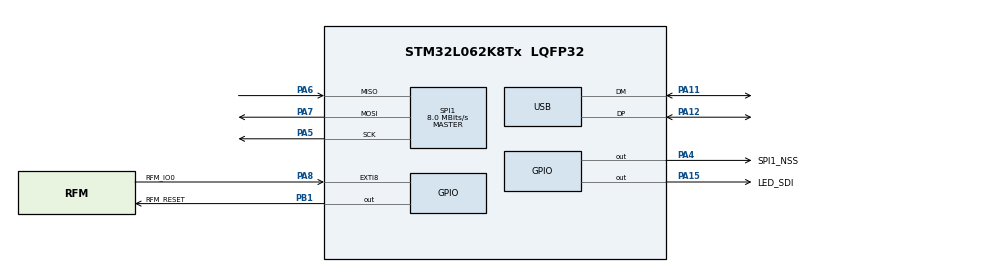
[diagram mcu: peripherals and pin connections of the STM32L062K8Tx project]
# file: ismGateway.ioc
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Mcu.Family=STM32L0
Mcu.Name=STM32L062K8Tx
Mcu.Package=LQFP32
NVIC.EXTI4_15_IRQn=true\:0\:0\:false\:false\:true\:true
NVIC.TIM2_IRQn=true\:2\:0\:true\:false\:true\:true
NVIC.USB_IRQn=true\:0\:0\:false\:false\:true\:false
PA11.Mode=Device
PA11.Signal=USB_DM
PA12.Mode=Device
PA12.Signal=USB_DP
PA13.Mode=Serial_Wire
PA13.Signal=SYS_SWDIO
PA14.Mode=Serial_Wire
PA14.Signal=SYS_SWCLK
PA15.GPIO_Label=LED_SDI
PA15.Signal=GPIO_Output
PA4.GPIO_Label=SPI1_NSS
PA4.GPIO_Speed=GPIO_SPEED_FREQ_HIGH
PA4.PinState=GPIO_PIN_SET
PA4.Signal=GPIO_Output
PA5.Mode=Full_Duplex_Master
PA5.Signal=SPI1_SCK
PA6.Mode=Full_Duplex_Master
PA6.Signal=SPI1_MISO
PA7.Mode=Full_Duplex_Master
PA7.Signal=SPI1_MOSI
PA8.GPIO_Label=RFM_IO0
PA8.GPIO_ModeDefaultEXTI=GPIO_MODE_IT_RISING_FALLING
PA8.GPIO_PuPd=GPIO_PULLDOWN
PA8.Signal=GPXTI8
PB1.GPIO_Label=RFM_RESET
PB1.GPIO_Speed=GPIO_SPEED_FREQ_HIGH
PB1.PinState=GPIO_PIN_SET
PB1.Signal=GPIO_Output
ProjectManager.HeapSize=0x200
ProjectManager.StackSize=0x400
ProjectManager.TargetToolchain=Makefile
RCC.AHBFreq_Value=32000000
RCC.APB1Freq_Value=32000000
RCC.APB1TimFreq_Value=32000000
RCC.APB2Freq_Value=32000000
RCC.APB2TimFreq_Value=32000000
RCC.HCLKFreq_Value=32000000
RCC.HSI16_VALUE=16000000
RCC.HSI48MClockSelection=RCC_USBCLKSOURCE_HSI48
RCC.HSI48_VALUE=48000000
RCC.HSI_VALUE=16000000
RCC.LSE_VALUE=32768
RCC.MSI_VALUE=2097000
RCC.PLLMUL=RCC_PLLMUL_4
RCC.SYSCLKFreq_VALUE=32000000
RCC.SYSCLKSource=RCC_SYSCLKSOURCE_PLLCLK
RCC.VCOOutputFreq_Value=64000000
SPI1.BaudRatePrescaler=SPI_BAUDRATEPRESCALER_4
SPI1.CalculateBaudRate=8.0 MBits/s
SPI1.Direction=SPI_DIRECTION_2LINES
SPI1.Mode=SPI_MODE_MASTER
SPI1.VirtualType=VM_MASTER
TIM2.Period=500
TIM2.TIM_MasterOutputTrigger=TIM_TRGO_UPDATE
USB_DEVICE.CLASS_NAME_FS=CDC
USB_DEVICE.VirtualMode=Cdc
USB_DEVICE.VirtualModeFS=Cdc_FS
VP_AES_VS_AES.Mode=AES_Activate
VP_TIM2_VS_ClockSourceINT.Mode=Internal
VP_USB_DEVICE_VS_USB_DEVICE_CDC_FS.Mode=CDC_FS
board=ismGateway

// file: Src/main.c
/**
  ******************************************************************************
  * @file           : main.c
  * @brief          : Main program body
  ******************************************************************************
  * This notice applies to any and all portions of this file
  * that are not between comment pairs USER CODE BEGIN and
  * USER CODE END. Other portions of this file, whether
  * inserted by the user or by software development tools
  * are owned by their respective copyright owners.
  *
  * Copyright (c) 2018 STMicroelectronics International N.V.
  * All rights reserved.
  *
  * Redistribution and use in source and binary forms, with or without
  * modification, are permitted, provided that the following conditions are met:
  *
  * 1. Redistribution of source code must retain the above copyright notice,
  *    this list of conditions and the following disclaimer.
  * 2. Redistributions in binary form must reproduce the above copyright notice,
  *    this list of conditions and the following disclaimer in the documentation
  *    and/or other materials provided with the distribution.
  * 3. Neither the name of STMicroelectronics nor the names of other
  *    contributors to this software may be used to endorse or promote products
  *    derived from this software without specific written permission.
  * 4. This software, including modifications and/or derivative works of this
  *    software, must execute solely and exclusively on microcontroller or
  *    microprocessor devices manufactured by or for STMicroelectronics.
  * 5. Redistribution and use of this software other than as permitted under
  *    this license is void and will automatically terminate your rights under
  *    this license.
  *
  * THIS SOFTWARE IS PROVIDED BY STMICROELECTRONICS AND CONTRIBUTORS "AS IS"
  * AND ANY EXPRESS, IMPLIED OR STATUTORY WARRANTIES, INCLUDING, BUT NOT
  * LIMITED TO, THE IMPLIED WARRANTIES OF MERCHANTABILITY, FITNESS FOR A
  * PARTICULAR PURPOSE AND NON-INFRINGEMENT OF THIRD PARTY INTELLECTUAL PROPERTY
  * RIGHTS ARE DISCLAIMED TO THE FULLEST EXTENT PERMITTED BY LAW. IN NO EVENT
  * SHALL STMICROELECTRONICS OR CONTRIBUTORS BE LIABLE FOR ANY DIRECT, INDIRECT,
  * INCIDENTAL, SPECIAL, EXEMPLARY, OR CONSEQUENTIAL DAMAGES (INCLUDING, BUT NOT
  * LIMITED TO, PROCUREMENT OF SUBSTITUTE GOODS OR SERVICES; LOSS OF USE, DATA,
  * OR PROFITS; OR BUSINESS INTERRUPTION) HOWEVER CAUSED AND ON ANY THEORY OF
  * LIABILITY, WHETHER IN CONTRACT, STRICT LIABILITY, OR TORT (INCLUDING
  * NEGLIGENCE OR OTHERWISE) ARISING IN ANY WAY OUT OF THE USE OF THIS SOFTWARE,
  * EVEN IF ADVISED OF THE POSSIBILITY OF SUCH DAMAGE.
  *
  ******************************************************************************
  */
#include "main.h"
#include "stm32l0xx_hal.h"
#include "aes.h"
#include "spi.h"
#include "tim.h"
#include "usb_device.h"
#include "gpio.h"

/* USER CODE BEGIN Includes */
#include "usbd_cdc_if.h"
#include "rfm9x_glue.h"
/* USER CODE END Includes */

/* USER CODE BEGIN PV */
/* Private variables ---------------------------------------------------------*/
typedef enum {
  TIMER_PENDING,
  TIMER_DONE
} timer_status_t;
volatile timer_status_t timer_status = TIMER_DONE;
volatile color_t colorSystem = {0x00, 0x03, 0x00};
volatile color_t colorTransmit = {0x00, 0x03, 0x00};
const color_t COLOR_RED = {0x03, 0x00, 0x00};
const color_t COLOR_GREEN = {0x00, 0x03, 0x00};
const color_t COLOR_BLUE = {0x00, 0x00, 0x03};
const color_t COLOR_YELLOW = {0x03, 0x03, 0x00};
/* USER CODE END PV */

void SystemClock_Config(void);

/* USER CODE BEGIN PFP */
/* Private function prototypes -----------------------------------------------*/

/* USER CODE END PFP */

int main(void)
{

  /* MCU Configuration----------------------------------------------------------*/

  /* Reset of all peripherals, Initializes the Flash interface and the Systick. */
  HAL_Init();

  /* Configure the system clock */
  SystemClock_Config();

  /* Initialize all configured peripherals */
  MX_GPIO_Init();
  MX_SPI1_Init();
  MX_TIM2_Init();
  MX_USB_DEVICE_Init();
  MX_AES_Init();
  /* USER CODE BEGIN 2 */
  rfm9x_g_init();

  bitbang_calls_t led_calls = {led_delay, led_set_pin, led_reset_pin};
  SetColors(&led_calls, &colorSystem, &colorTransmit);

  LL_DBGMCU_EnableDBGSleepMode();
  LL_DBGMCU_EnableDBGStopMode();
  LL_DBGMCU_EnableDBGStandbyMode();

  LL_PWR_SetPowerMode(LL_PWR_MODE_STANDBY);

  rfm9x_flags_t flags;
  const rfm9x_flags_t flags_all = RFM9X_FLAG_ALL;
  rfm9x_g_start_reception_mode();
  /* USER CODE END 2 */

  /* Infinite loop */
  /* USER CODE BEGIN WHILE */
  while (1)
  {
    // while (LL_GPIO_IsInputPinSet(RFM_IO0_GPIO_Port, RFM_IO0_Pin) == 1) {
      rfm9x_g_get_flags(&flags);

      if ((flags & RFM9X_FLAG_RX_DONE) && !(flags & RFM9X_FLAG_PAYLOAD_CRC_ERROR)) {
        rfm9x_g_get_message(ReadData);
        colorTransmit = COLOR_BLUE;
        SetColors(&led_calls, &colorSystem, &colorTransmit);
        LL_mDelay(50);
        colorTransmit = COLOR_GREEN;
      } else {
        colorTransmit = COLOR_YELLOW;
      }

      rfm9x_g_reset_flags(&flags_all);
      SetColors(&led_calls, &colorSystem, &colorTransmit);
    // }
    LL_mDelay(100);

    // __WFI();
  /* USER CODE END WHILE */

  }

}

void SystemClock_Config(void)
{

  LL_FLASH_SetLatency(LL_FLASH_LATENCY_1);

  if(LL_FLASH_GetLatency() != LL_FLASH_LATENCY_1)
  {
  Error_Handler();
  }
  LL_PWR_SetRegulVoltageScaling(LL_PWR_REGU_VOLTAGE_SCALE1);

  LL_RCC_HSI_Enable();

   /* Wait till HSI is ready */
  while(LL_RCC_HSI_IsReady() != 1)
  {

  }
  LL_RCC_HSI_SetCalibTrimming(16);

  LL_RCC_HSI48_Enable();

   /* Wait till HSI48 is ready */
  while(LL_RCC_HSI48_IsReady() != 1)
  {

  }
  LL_RCC_PLL_ConfigDomain_SYS(LL_RCC_PLLSOURCE_HSI, LL_RCC_PLL_MUL_4, LL_RCC_PLL_DIV_2);

  LL_RCC_PLL_Enable();

   /* Wait till PLL is ready */
  while(LL_RCC_PLL_IsReady() != 1)
  {

  }
  LL_RCC_SetAHBPrescaler(LL_RCC_SYSCLK_DIV_1);

  LL_RCC_SetAPB1Prescaler(LL_RCC_APB1_DIV_1);

  LL_RCC_SetAPB2Prescaler(LL_RCC_APB2_DIV_1);

  LL_RCC_SetSysClkSource(LL_RCC_SYS_CLKSOURCE_PLL);

   /* Wait till System clock is ready */
  while(LL_RCC_GetSysClkSource() != LL_RCC_SYS_CLKSOURCE_STATUS_PLL)
  {

  }
  LL_Init1msTick(32000000);

  LL_SYSTICK_SetClkSource(LL_SYSTICK_CLKSOURCE_HCLK);

  LL_SetSystemCoreClock(32000000);

  LL_RCC_SetUSBClockSource(LL_RCC_USB_CLKSOURCE_HSI48);

  /* SysTick_IRQn interrupt configuration */
  NVIC_SetPriority(SysTick_IRQn, 0);
}

/* USER CODE BEGIN 4 */
void led_set_pin() {
  LL_GPIO_SetOutputPin(LED_SDI_GPIO_Port, LED_SDI_Pin);
}

void led_reset_pin() {
  LL_GPIO_ResetOutputPin(LED_SDI_GPIO_Port, LED_SDI_Pin);
}

void led_delay() {
  timer_status = TIMER_PENDING;
  LL_TIM_EnableIT_UPDATE(TIM2);
  LL_TIM_EnableCounter(TIM2);

  while(timer_status == TIMER_PENDING) {
    __WFI();
  }

  LL_TIM_DisableCounter(TIM2);
  LL_TIM_DisableIT_UPDATE(TIM2);
}

void ReadData(int16_t rssi, const uint8_t* const data, uint8_t length) {
  uint8_t statusUSB = USBD_OK;

  uint8_t msg[length + 2];

  memcpy((char*)(msg), (const char*)&rssi, 2);
  memcpy((char*)(msg + 2), (const char*)data, length);

  if ((hUsbDeviceFS.dev_state == USBD_STATE_CONFIGURED) || (hUsbDeviceFS.dev_state == USBD_STATE_SUSPENDED)) {
    statusUSB = CDC_Transmit_FS(msg, length + 2);
  }

  if (statusUSB == USBD_OK) {
    colorSystem = COLOR_GREEN;
  } else if (statusUSB == USBD_BUSY) {
    colorSystem = COLOR_BLUE;
  } else if (statusUSB == USBD_FAIL) {
    colorSystem = COLOR_RED;
  } else {
    colorSystem = COLOR_YELLOW;
  }
}

void SetColors(const bitbang_calls_t* const calls, const color_t* const cSystem, const color_t* const cTransmit) {
  color_t colors[2] = {*cSystem, *cTransmit};
  set_colors(calls, colors, 2);
}

void TIMER_Callback() {
  timer_status = TIMER_DONE;
}
/* USER CODE END 4 */

void _Error_Handler(char *file, int line)
{
  while(1)
  {
  }
}

/************************ (C) COPYRIGHT STMicroelectronics *****END OF FILE****/
